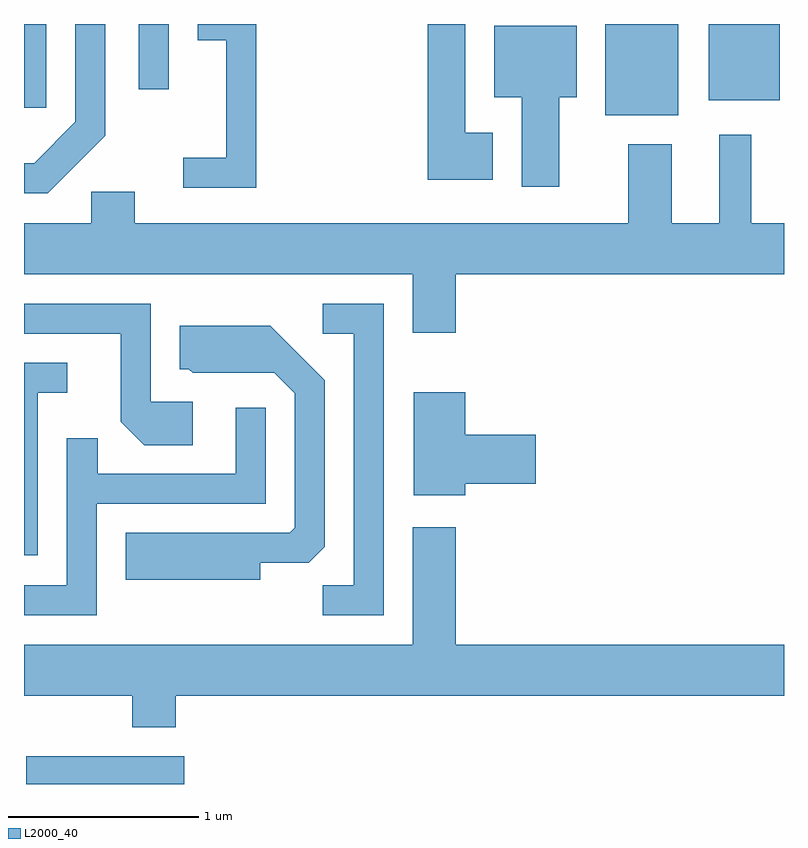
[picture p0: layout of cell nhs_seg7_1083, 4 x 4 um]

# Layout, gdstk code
import gdstk
lib = gdstk.Library(unit=1e-6, precision=1e-09)
def R(c, l, rs):  # rectangles x0, y0, x1, y1
    for r in rs: c.add(gdstk.rectangle(r[:2], r[2:], *l))
def P(c, l, *ps):  # polygons
    for p in ps: c.add(gdstk.Polygon(p, *l))
L2000_40 = (2000, 40)

nhs_seg7_1083 = lib.new_cell('nhs_seg7_1083')
R(nhs_seg7_1083, L2000_40, [(217.623,1758.252,218.454,1758.399), (220.671,1761.771,221.054,1762.252), (217.611,1761.811,217.729,1762.252), (221.216,1761.851,221.589,1762.252), (218.216,1761.908,218.374,1762.252)])
P(nhs_seg7_1083, L2000_40, [(218.039,1761.664),(218.039,1762.252),(217.881,1762.252),(217.881,1761.737),(217.664,1761.519),(217.611,1761.519),(217.611,1761.361),(217.737,1761.361)],
  [(220.079,1761.679),(219.934,1761.679),(219.934,1762.252),(219.736,1762.252),(219.736,1761.431),(220.079,1761.431)],
  [(218.834,1762.252),(218.526,1762.252),(218.526,1762.166),(218.676,1762.166),(218.676,1761.549),(218.448,1761.549),(218.448,1761.391),(218.834,1761.391)],
  [(220.429,1761.866),(220.519,1761.866),(220.519,1762.244),(220.086,1762.244),(220.086,1761.866),(220.231,1761.866),(220.231,1761.396),(220.429,1761.396)],
  [(219.884,1760.936),(221.611,1760.936),(221.611,1761.204),(221.439,1761.204),(221.439,1761.668),(221.271,1761.668),(221.271,1761.204),(221.019,1761.204),(221.019,1761.619),(220.791,1761.619),(220.791,1761.204),(218.194,1761.204),(218.194,1761.369),(217.966,1761.369),(217.966,1761.204),(217.611,1761.204),(217.611,1760.936),(219.656,1760.936),(219.656,1760.626),(219.884,1760.626)],
  [(218.499,1760.264),(218.279,1760.264),(218.279,1760.779),(217.611,1760.779),(217.611,1760.621),(218.121,1760.621),(218.121,1760.159),(218.244,1760.036),(218.499,1760.036)],
  [(219.504,1760.779),(219.183,1760.779),(219.183,1760.621),(219.346,1760.621),(219.346,1759.299),(219.183,1759.299),(219.183,1759.141),(219.504,1759.141)],
  [(218.854,1759.416),(219.109,1759.416),(219.194,1759.502),(219.194,1760.377),(218.907,1760.664),(218.431,1760.664),(218.431,1760.436),(218.479,1760.436),(218.499,1760.416),(218.929,1760.416),(219.036,1760.309),(219.036,1759.602),(219.009,1759.574),(218.146,1759.574),(218.146,1759.326),(218.854,1759.326)],
  [(217.684,1760.311),(217.838,1760.311),(217.838,1760.469),(217.611,1760.469),(217.611,1759.456),(217.684,1759.456)],
  [(219.934,1759.831),(220.304,1759.831),(220.304,1760.089),(219.934,1760.089),(219.934,1760.314),(219.661,1760.314),(219.661,1759.771),(219.934,1759.771)],
  [(217.994,1759.726),(218.884,1759.726),(218.884,1760.233),(218.726,1760.233),(218.726,1759.884),(217.999,1759.884),(217.999,1760.073),(217.836,1760.073),(217.836,1759.299),(217.611,1759.299),(217.611,1759.141),(217.994,1759.141)],
  [(218.409,1758.716),(221.611,1758.716),(221.611,1758.984),(219.884,1758.984),(219.884,1759.604),(219.656,1759.604),(219.656,1758.984),(217.611,1758.984),(217.611,1758.716),(218.181,1758.716),(218.181,1758.551),(218.409,1758.551)])

lib.write_gds('nhs_seg7_1083.gds')
